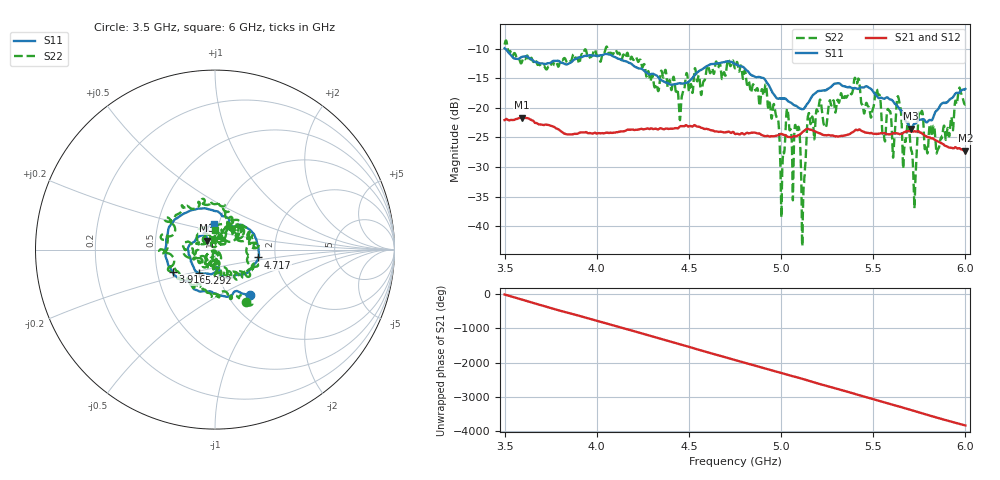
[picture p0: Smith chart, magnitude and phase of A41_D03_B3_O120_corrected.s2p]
! Created with skrf 1.9.0 (http://scikit-rf.org).
# Hz S RI R 50.0
!freq ReS11 ImS11 ReS21 ImS21 ReS12 ImS12 ReS22 ImS22
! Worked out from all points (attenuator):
!   1601 points, 3.5 GHz to 6 GHz, reference 50 ohm
!   highest |S21| = -21.67 dB at 3.592 GHz (marker M1); lowest = -27.2 dB at 6 GHz (marker M2)
!   lowest |S11| = -23.5 dB at 5.703 GHz (marker M3), VSWR 1.14, Z = 45.5 + j4.54 ohm
!   |S11| at or under -10 dB: 3.501 GHz to end of sweep
!   |S22| runs from -43.4 to -8.6 dB; largest |S21 - S12| = 0.00091
!   S11 on the Smith chart (normalised r, x): 3.5 GHz: 1.26, -0.71; 3.916 GHz: 0.60, -0.16; 4.717 GHz: 1.63, -0.15; 5.292 GHz: 0.81, -0.22; 6 GHz: 0.95, +0.28
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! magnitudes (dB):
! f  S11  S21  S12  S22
! 3.5 GHz  -10.0  -22.1  -22.1  -9.3
! 3.592 GHz  -11.4  -21.7  -21.7  -12.4
! 3.916 GHz  -11.5  -24.2  -24.2  -11.2
! 3.917 GHz  -11.5  -24.2  -24.2  -11.0
! 4.334 GHz  -14.9  -23.6  -23.6  -17.2
! 4.717 GHz  -12.2  -24.0  -24.1  -12.2
! 4.75 GHz  -12.7  -24.4  -24.4  -13.4
! 4.969 GHz  -18.1  -24.8  -24.7  -20.8
! 5.006 GHz  -18.5  -24.5  -24.4  -30.6
! 5.034 GHz  -18.8  -24.9  -24.8  -20.2
! 5.088 GHz  -19.8  -24.7  -24.7  -23.8
! 5.12 GHz  -20.2  -24.0  -23.9  -35.2
! 5.145 GHz  -19.2  -23.6  -23.5  -21.5
! 5.167 GHz  -18.1  -23.7  -23.7  -21.6
! 5.292 GHz  -15.9  -24.8  -24.8  -20.4
! 5.409 GHz  -16.7  -23.8  -23.7  -15.8
! 5.584 GHz  -18.5  -24.5  -24.4  -20.4
! 5.703 GHz  -23.5  -24.0  -24.0  -26.6
! 5.723 GHz  -22.7  -24.0  -23.9  -37.0
! 5.756 GHz  -22.0  -24.2  -24.1  -21.2
! 5.852 GHz  -20.3  -25.7  -25.6  -27.0
! 6 GHz  -16.8  -27.2  -27.2  -19.4
